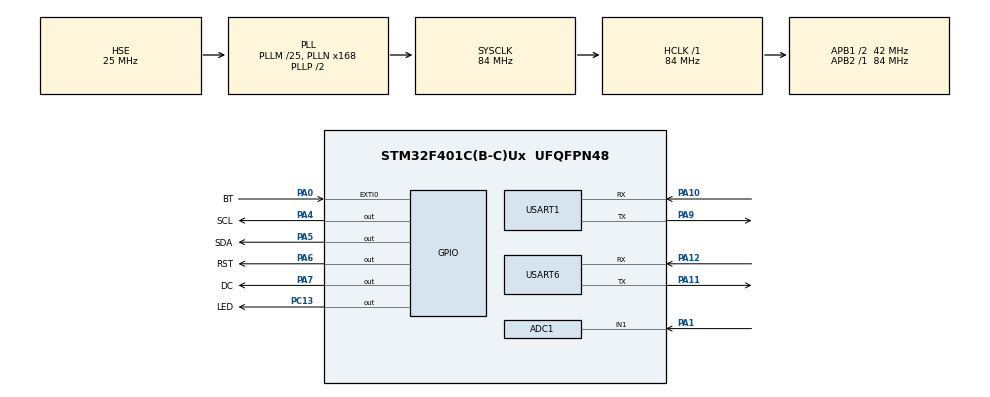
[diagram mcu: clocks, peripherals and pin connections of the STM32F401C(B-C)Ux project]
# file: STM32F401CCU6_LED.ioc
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ADC1.Channel-7\#ChannelRegularConversion=ADC_CHANNEL_1
ADC1.ContinuousConvMode=ENABLE
ADC1.InjNumberOfConversion=0
ADC1.NbrOfConversion=1
ADC1.NbrOfConversionFlag=1
ADC1.Rank-7\#ChannelRegularConversion=1
ADC1.SamplingTime-7\#ChannelRegularConversion=ADC_SAMPLETIME_15CYCLES
ADC1.ScanConvMode=DISABLE
ADC1.master=1
Mcu.Family=STM32F4
Mcu.Name=STM32F401C(B-C)Ux
Mcu.Package=UFQFPN48
NVIC.ADC_IRQn=true\:0\:0\:false\:false\:true\:true\:true
NVIC.EXTI0_IRQn=true\:0\:0\:false\:false\:true\:true\:true
NVIC.PriorityGroup=NVIC_PRIORITYGROUP_4
PA0-WKUP.GPIO_Label=BT
PA0-WKUP.GPIO_ModeDefaultEXTI=GPIO_MODE_IT_FALLING
PA0-WKUP.GPIO_PuPd=GPIO_PULLUP
PA0-WKUP.Signal=GPXTI0
PA1.Signal=ADCx_IN1
PA10.Mode=Asynchronous
PA10.Signal=USART1_RX
PA11.Mode=Asynchronous
PA11.Signal=USART6_TX
PA12.Mode=Asynchronous
PA12.Signal=USART6_RX
PA13.Mode=Serial_Wire
PA13.Signal=SYS_JTMS-SWDIO
PA14.Mode=Serial_Wire
PA14.Signal=SYS_JTCK-SWCLK
PA4.GPIO_Label=SCL
PA4.Signal=GPIO_Output
PA5.GPIO_Label=SDA
PA5.Signal=GPIO_Output
PA6.GPIO_Label=RST
PA6.Signal=GPIO_Output
PA7.GPIO_Label=DC
PA7.Signal=GPIO_Output
PA9.Mode=Asynchronous
PA9.Signal=USART1_TX
PC13-ANTI_TAMP.GPIO_Label=LED
PC13-ANTI_TAMP.Signal=GPIO_Output
PH0\ -\ OSC_IN.Mode=HSE-External-Oscillator
PH0\ -\ OSC_IN.Signal=RCC_OSC_IN
PH1\ -\ OSC_OUT.Mode=HSE-External-Oscillator
PH1\ -\ OSC_OUT.Signal=RCC_OSC_OUT
ProjectManager.HeapSize=0x200
ProjectManager.StackSize=0x400
ProjectManager.TargetToolchain=MDK-ARM V5.32
RCC.48MHZClocksFreq_Value=42000000
RCC.AHBFreq_Value=84000000
RCC.APB1CLKDivider=RCC_HCLK_DIV2
RCC.APB1Freq_Value=42000000
RCC.APB1TimFreq_Value=84000000
RCC.APB2Freq_Value=84000000
RCC.APB2TimFreq_Value=84000000
RCC.CortexFreq_Value=84000000
RCC.HCLKFreq_Value=84000000
RCC.HSE_VALUE=25000000
RCC.HSI_VALUE=16000000
RCC.LSE_VALUE=32768
RCC.PLLM=25
RCC.PLLN=168
RCC.PLLSourceVirtual=RCC_PLLSOURCE_HSE
RCC.SYSCLKFreq_VALUE=84000000
RCC.SYSCLKSource=RCC_SYSCLKSOURCE_PLLCLK
RCC.VCOOutputFreq_Value=168000000
SH.ADCx_IN1.0=ADC1_IN1,IN1
USART1.VirtualMode=VM_ASYNC
USART6.VirtualMode=VM_ASYNC
board=custom

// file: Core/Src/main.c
/* USER CODE BEGIN Header */
/**
  ******************************************************************************
  * @file           : main.c
  * @brief          : Main program body
  ******************************************************************************
  * @attention
  *
  * Copyright (c) 2022 STMicroelectronics.
  * All rights reserved.
  *
  * This software is licensed under terms that can be found in the LICENSE file
  * in the root directory of this software component.
  * If no LICENSE file comes with this software, it is provided AS-IS.
  *
  ******************************************************************************
  */
/* USER CODE END Header */
#include "main.h"
#include "adc.h"
#include "usart.h"
#include "gpio.h"

/* USER CODE BEGIN Includes */

#include "bsp_led.h"
#include "bsp_uart.h "
#include "OLED.h"
/* USER CODE END Includes */

void SystemClock_Config(void);

/* USER CODE BEGIN 0 */

uint16_t times = 0;
uint8_t  bt_flag = 0;
void HAL_GPIO_EXTI_Callback(uint16_t GPIO_Pin)
{
	if(GPIO_Pin == BT_Pin){
		L_TOOGLE;
	}
}

float adc_val = 0.0;
void HAL_ADC_ConvCpltCallback(ADC_HandleTypeDef* hadc)
{
	adc_val = HAL_ADC_GetValue(&hadc1);
	adc_val = (float)adc_val / (float)4096.0 * (float)3.3;
}
//void HAL_ADC_ConvCpltCallback(ADC_HandleTypeDef* AdcHandle)
//{
///* ��ȡ��� */
//ADC_ConvertedValue = HAL_ADC_GetValue(AdcHandle);
//}
extern uint8_t nonside[];
/* USER CODE END 0 */

int main(void)
{
  /* USER CODE BEGIN 1 */
  uint8_t i = 0;
  /* USER CODE END 1 */

  /* MCU Configuration--------------------------------------------------------*/

  /* Reset of all peripherals, Initializes the Flash interface and the Systick. */
  HAL_Init();

  /* Configure the system clock */
  SystemClock_Config();

  /* Initialize all configured peripherals */
  MX_GPIO_Init();
  MX_USART6_UART_Init();
  MX_ADC1_Init();
  MX_USART1_UART_Init();
  /* USER CODE BEGIN 2 */
  LCD_Init();
  LCD_Print(0, 0, "���ܼҾӹ���ϵͳ",TYPE16X16,TYPE8X16);
  HAL_Delay(1000);
  LCD_CLS();

  /* USER CODE END 2 */

  /* Infinite loop */
  /* USER CODE BEGIN WHILE */
  while (1)
  {
    LCD_Print(0, 0, "���ܼҾӹ���ϵͳ",TYPE16X16,TYPE8X16);
    HAL_Delay(1000);
    LCD_CLS();
    /* USER CODE END WHILE */

  }
}

void SystemClock_Config(void)
{
  RCC_OscInitTypeDef RCC_OscInitStruct = {0};
  RCC_ClkInitTypeDef RCC_ClkInitStruct = {0};

  /** Configure the main internal regulator output voltage
  */
  __HAL_RCC_PWR_CLK_ENABLE();
  __HAL_PWR_VOLTAGESCALING_CONFIG(PWR_REGULATOR_VOLTAGE_SCALE2);
  /** Initializes the RCC Oscillators according to the specified parameters
  * in the RCC_OscInitTypeDef structure.
  */
  RCC_OscInitStruct.OscillatorType = RCC_OSCILLATORTYPE_HSE;
  RCC_OscInitStruct.HSEState = RCC_HSE_ON;
  RCC_OscInitStruct.PLL.PLLState = RCC_PLL_ON;
  RCC_OscInitStruct.PLL.PLLSource = RCC_PLLSOURCE_HSE;
  RCC_OscInitStruct.PLL.PLLM = 25;
  RCC_OscInitStruct.PLL.PLLN = 168;
  RCC_OscInitStruct.PLL.PLLP = RCC_PLLP_DIV2;
  RCC_OscInitStruct.PLL.PLLQ = 4;
  if (HAL_RCC_OscConfig(&RCC_OscInitStruct) != HAL_OK)
  {
    Error_Handler();
  }
  /** Initializes the CPU, AHB and APB buses clocks
  */
  RCC_ClkInitStruct.ClockType = RCC_CLOCKTYPE_HCLK|RCC_CLOCKTYPE_SYSCLK
                              |RCC_CLOCKTYPE_PCLK1|RCC_CLOCKTYPE_PCLK2;
  RCC_ClkInitStruct.SYSCLKSource = RCC_SYSCLKSOURCE_PLLCLK;
  RCC_ClkInitStruct.AHBCLKDivider = RCC_SYSCLK_DIV1;
  RCC_ClkInitStruct.APB1CLKDivider = RCC_HCLK_DIV2;
  RCC_ClkInitStruct.APB2CLKDivider = RCC_HCLK_DIV1;

  if (HAL_RCC_ClockConfig(&RCC_ClkInitStruct, FLASH_LATENCY_2) != HAL_OK)
  {
    Error_Handler();
  }
}

void Error_Handler(void)
{
  __disable_irq();
  while (1)
  {
  }
}
